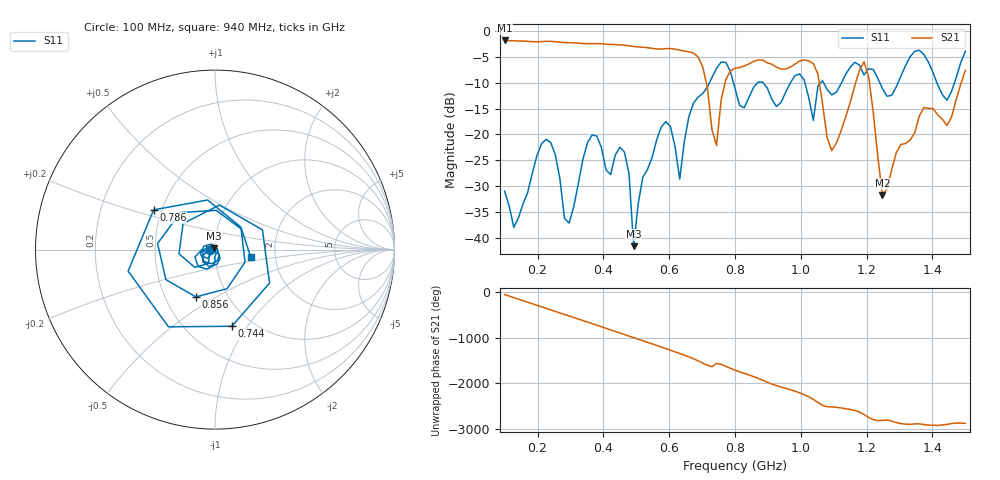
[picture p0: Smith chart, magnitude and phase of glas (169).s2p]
! NanoVNA-App
! Date: 2025-09-25 15:56:47
! Start: 100MHz Stop: 1,5GHz Points: 101
! S-Parameter data: F S11 S21 S12 S22
# Hz S RI R 50
!  Frequency  S11_Real  S11_Imag  S21_Real  S21_Imag  S12_Real  S12_Imag  S22_Real  S22_Imag
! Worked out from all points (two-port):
!   101 points, 100 MHz to 1.5 GHz, reference 50 ohm
!   highest |S21| = -1.80 dB at 100 MHz (marker M1); lowest = -31.8 dB at 1.248 GHz (marker M2)
!   |S21| within 3 dB of the highest: start of sweep to 684.2 MHz
!   lowest |S11| = -41.6 dB at 492 MHz (marker M3), VSWR 1.02, Z = 49.5 + j0.629 ohm
!   |S11| at or under -10 dB: start of sweep to 722.4 MHz; 795.4 MHz to 868.3 MHz (72.94 MHz wide, 8.77 % of centre); 885.9 MHz to 968.4 MHz (82.59 MHz wide, 8.91 % of centre) (the widest 3 of 7)
!   S12 and S22 are empty: the file has one direction only
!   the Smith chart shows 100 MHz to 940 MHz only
!   S11 on the Smith chart (normalised r, x): 100 MHz: 0.95, -0.01; 744 MHz: 0.81, -0.85; 786 MHz: 0.45, +0.24; 856 MHz: 0.71, -0.41; 940 MHz: 1.49, -0.14
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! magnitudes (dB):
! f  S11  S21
! 100 MHz  -31.0  -1.8
! 128 MHz  -38.0  -1.9
! 226 MHz  -20.9  -2.0
! 296 MHz  -37.1  -2.2
! 338 MHz  -24.8  -2.4
! 464 MHz  -23.4  -2.7
! 492 MHz  -41.6  -3.0
! 576 MHz  -18.5  -3.5
! 632 MHz  -28.6  -3.7
! 702 MHz  -12.1  -6.9
! 744 MHz  -7.2  -22.1
! 786 MHz  -7.8  -7.7
! 800 MHz  -11.1  -7.2
! 856 MHz  -10.9  -5.9
! 940 MHz  -13.8  -7.3
! 996 MHz  -8.3  -5.8
! 1.038 GHz  -17.3  -6.3
! 1.094 GHz  -12.3  -23.1
! 1.192 GHz  -8.5  -5.9
! 1.248 GHz  -11.1  -31.8
! 1.276 GHz  -12.4  -26.8
! 1.5 GHz  -3.9  -7.6
